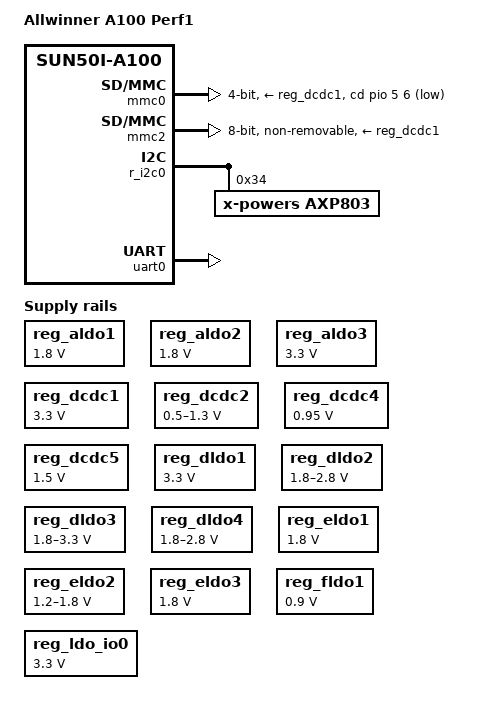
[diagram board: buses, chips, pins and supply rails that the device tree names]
// SPDX-License-Identifier: (GPL-2.0+ OR MIT)
/*
 * Copyright (c) 2020 Yangtao Li <frank@allwinnertech.com>
 */

/dts-v1/;

#include "sun50i-a100.dtsi"
#include "sun50i-a100-cpu-opp.dtsi"

#include <dt-bindings/gpio/gpio.h>

/{
	model = "Allwinner A100 Perf1";
	compatible = "allwinner,a100-perf1", "allwinner,sun50i-a100";

	aliases {
		serial0 = &uart0;
	};

	chosen {
		stdout-path = "serial0:115200n8";
	};
};

&mmc0 {
	vmmc-supply = <&reg_dcdc1>;
	cd-gpios = <&pio 5 6 GPIO_ACTIVE_LOW>; /* PF6 */
	bus-width = <4>;
	status = "okay";
};

&mmc2 {
	vmmc-supply = <&reg_dcdc1>;
	vqmmc-supply = <&reg_aldo1>;
	cap-mmc-hw-reset;
	non-removable;
	bus-width = <8>;
	status = "okay";
};

&cpu0 {
	cpu-supply = <&reg_dcdc2>;
};

&pio {
	vcc-pb-supply = <&reg_dcdc1>;
	vcc-pc-supply = <&reg_eldo1>;
	vcc-pd-supply = <&reg_dcdc1>;
	vcc-pe-supply = <&reg_dldo2>;
	vcc-pf-supply = <&reg_dcdc1>;
	vcc-pg-supply = <&reg_dldo1>;
	vcc-ph-supply = <&reg_dcdc1>;
};

&r_pio {
	/*
	 * FIXME: We can't add that supply for now since it would
	 * create a circular dependency between pinctrl, the regulator
	 * and the RSB Bus.
	 *
	 * vcc-pl-supply = <&reg_aldo3>;
	 */
};

&r_i2c0 {
	status = "okay";

	axp803: pmic@34 {
		compatible = "x-powers,axp803";
		reg = <0x34>;
		interrupt-parent = <&r_intc>;
		interrupts = <0 IRQ_TYPE_LEVEL_LOW>;
		x-powers,drive-vbus-en; /* set N_VBUSEN as output pin */
	};
};

#include "axp803.dtsi"

&ac_power_supply {
	status = "okay";
};

&reg_aldo1 {
	regulator-always-on;
	regulator-min-microvolt = <1800000>;
	regulator-max-microvolt = <1800000>;
	regulator-name = "vcc-pll-avcc";
};

&reg_aldo2 {
	regulator-always-on;
	regulator-min-microvolt = <1800000>;
	regulator-max-microvolt = <1800000>;
	regulator-name = "vcc-dram-1";
};

&reg_aldo3 {
	regulator-always-on;
	regulator-min-microvolt = <3300000>;
	regulator-max-microvolt = <3300000>;
	regulator-name = "vcc-usb-pl";
};

&reg_dcdc1 {
	regulator-always-on;
	regulator-min-microvolt = <3300000>;
	regulator-max-microvolt = <3300000>;
	regulator-name = "vcc-io-usb-pd-emmc-nand-card";
};

&reg_dcdc2 {
	regulator-always-on;
	/*
	 * FIXME: update min and max before support dvfs.
	 */
	regulator-min-microvolt = <500000>;
	regulator-max-microvolt = <1300000>;
	regulator-name = "vdd-cpux";
};

/* DCDC3 is polyphased with DCDC2 */

&reg_dcdc4 {
	regulator-always-on;
	regulator-min-microvolt = <950000>;
	regulator-max-microvolt = <950000>;
	regulator-name = "vdd-sys-usb-dram";
};

&reg_dcdc5 {
	regulator-always-on;
	regulator-min-microvolt = <1500000>;
	regulator-max-microvolt = <1500000>;
	regulator-name = "vcc-dram-2";
};

&reg_dldo1 {
	regulator-min-microvolt = <3300000>;
	regulator-max-microvolt = <3300000>;
	regulator-name = "vcc-pg-dcxo-wifi";
};

&reg_dldo2 {
	regulator-min-microvolt = <1800000>;
	regulator-max-microvolt = <2800000>;
	regulator-name = "vcc-pe-csi";
};

&reg_dldo3 {
	regulator-min-microvolt = <1800000>;
	regulator-max-microvolt = <3300000>;
	regulator-name = "ldo-avdd-csi";
};

&reg_dldo4 {
	regulator-min-microvolt = <1800000>;
	regulator-max-microvolt = <2800000>;
	regulator-name = "avcc-csi";
};

&reg_eldo1 {
	regulator-min-microvolt = <1800000>;
	regulator-max-microvolt = <1800000>;
	regulator-name = "vcc-pc-lvds-csi-efuse-emmc-nand";
};

&reg_eldo2 {
	regulator-min-microvolt = <1200000>;
	regulator-max-microvolt = <1800000>;
	regulator-name = "dvdd-csi";
};

&reg_eldo3 {
	regulator-min-microvolt = <1800000>;
	regulator-max-microvolt = <1800000>;
	regulator-name = "vcc-mipi-lcd";
};

&reg_fldo1 {
	regulator-always-on;
	regulator-min-microvolt = <900000>;
	regulator-max-microvolt = <900000>;
	regulator-name = "vdd-cpus-usb";
};

&reg_ldo_io0 {
	regulator-min-microvolt = <3300000>;
	regulator-max-microvolt = <3300000>;
	regulator-name = "vcc-ctp";
	status = "okay";
};

&reg_drivevbus {
	regulator-name = "usb0-vbus";
	status = "okay";
};

&uart0 {
	pinctrl-names = "default";
	pinctrl-0 = <&uart0_pb_pins>;
	status = "okay";
};
